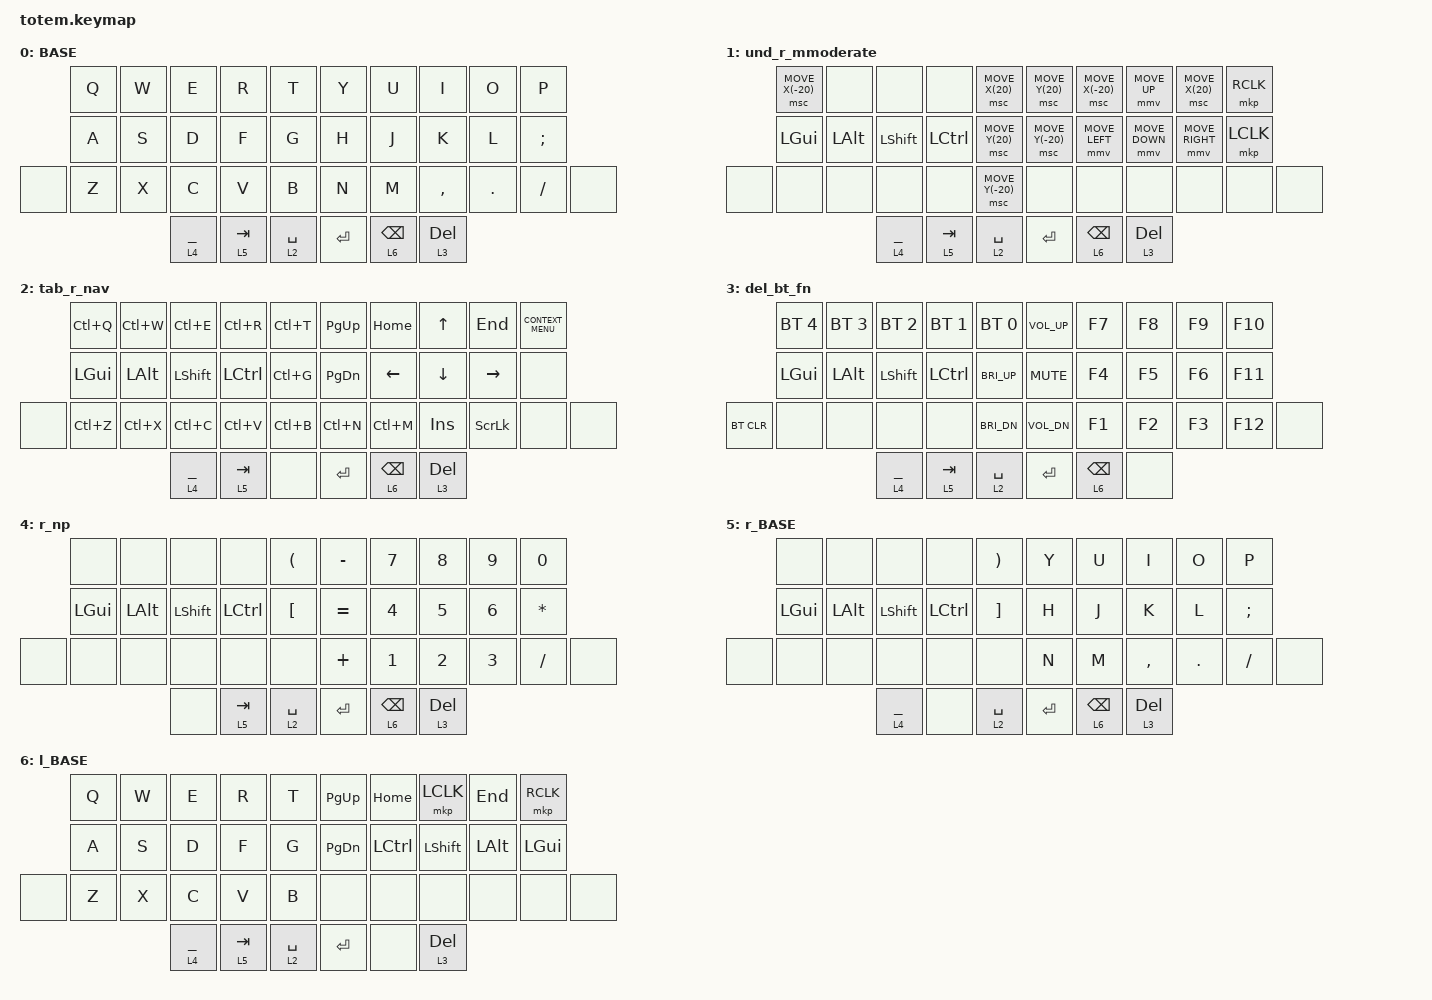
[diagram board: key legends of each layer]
#include <behaviors.dtsi>
#include <dt-bindings/zmk/bt.h>
#include <dt-bindings/zmk/keys.h>
#include <dt-bindings/zmk/pointing.h>

#define ZMK_POINTING_DEFAULT_MOVE_VAL 1200  // 기본값: 600
#define ZMK_POINTING_DEFAULT_SCRL_VAL 20    // 기본값: 10
#define BASE 0
#define NAV  1
#define SYM  2
#define ADJ  3
#define TVP1 4
#define TVP2 5

&lt {
    flavor = "balanced";
    quick-tap-ms = <175>;
    tapping-term-ms = <240>;
    require-prior-idle-ms = <50>;
    retro-tap;
};

&mmv {
    acceleration-exponent = <2>;
    time-to-max-speed-ms = <240>;
};

&msc {
    acceleration-exponent = <1>;
    time-to-max-speed-ms = <240>;
};

/ {
    combos {
        compatible = "zmk,combos";

        // ▄▄▄▄▄▄▄▄ cb mod
        // ▄▄▄▄▄▄▄▄ cb layer
        // ▄▄▄▄▄▄▄▄ cb keys

        cb_qwe_esc {
            bindings = <&kp ESC>;
            key-positions = <0 1 2>;
            require-prior-idle-ms = <170>;
        };

        cb_asd_grave {
            bindings = <&kp GRAVE>;
            key-positions = <10 11 12>;
            require-prior-idle-ms = <170>;
        };

        cb_zxc_none {
            bindings = <&kp CAPS>;
            key-positions = <22 21 23>;
            require-prior-idle-ms = <170>;
        };

        cb_wer_momouse_tomouse {
            bindings = <&td_momouse_tomouse>;
            key-positions = <1 2 3>;
            require-prior-idle-ms = <170>;
        };

        cb_sdf_capsword_tobase {
            bindings = <&td_capsword_tobase>;
            key-positions = <11 12 13>;
            require-prior-idle-ms = <170>;
        };

        cb_xcv_under {
            bindings = <&td_under>;
            key-positions = <22 23 24>;
            require-prior-idle-ms = <170>;
        };

        cb_ert_mobtfn_tobtfn {
            bindings = <&mkp RCLK>;
            key-positions = <2 3 4>;
            require-prior-idle-ms = <170>;
        };

        cb_dfg_lclk {
            bindings = <&mkp LCLK>;
            key-positions = <14 12 13>;
            require-prior-idle-ms = <170>;
        };

        cb_cvb_nav {
            bindings = <&kp K_MENU>;
            key-positions = <23 25 24>;
            require-prior-idle-ms = <170>;
        };

        cb_yui_minus {
            bindings = <&kp MINUS>;
            key-positions = <5 6 7>;
            require-prior-idle-ms = <170>;
        };

        cb_hjk_equal {
            bindings = <&kp EQUAL>;
            key-positions = <15 17 16>;
            require-prior-idle-ms = <170>;
        };

        cb_nmlt_lang1 {
            bindings = <&td_lang1_ctrlspace>;
            key-positions = <26 27 28>;
            require-prior-idle-ms = <170>;
        };

        cb_uio_np {
            bindings = <&td_tonp>;
            key-positions = <8 7 6>;
            require-prior-idle-ms = <170>;
        };

        cb_jkl_tobase {
            bindings = <&td_tobase>;
            key-positions = <18 16 17>;
            require-prior-idle-ms = <170>;
        };

        cb_lang2 {
            bindings = <&td_lang2>;
            key-positions = <27 28 29>;
            require-prior-idle-ms = <170>;
        };

        td_iop_star {
            bindings = <&kp STAR>;
            key-positions = <7 8 9>;
            require-prior-idle-ms = <170>;
        };

        cb_klsemicolon_quote {
            bindings = <&kp SINGLE_QUOTE>;
            key-positions = <17 18 19>;
            require-prior-idle-ms = <170>;
        };

        cb_commaperiodslash_backslash {
            bindings = <&kp BACKSLASH>;
            key-positions = <29 30 28>;
            require-prior-idle-ms = <170>;
        };

        cb_fg_ctrl {
            bindings = <&kp LCTRL>;
            key-positions = <13 14>;
            require-prior-idle-ms = <170>;
        };

        cb_dg_shift {
            bindings = <&kp LSHFT>;
            key-positions = <12 14>;
            require-prior-idle-ms = <170>;
        };

        cb_sg_alt {
            bindings = <&kp LALT>;
            key-positions = <14 11>;
            require-prior-idle-ms = <170>;
        };

        cb_ag_gui {
            bindings = <&kp LGUI>;
            key-positions = <10 14>;
            require-prior-idle-ms = <170>;
        };

        cb_df_ctrl_shift {
            bindings = <&kp LC(LSHIFT)>;
            key-positions = <13 12>;
            require-prior-idle-ms = <170>;
        };

        cb_sf_alt_ctrl {
            bindings = <&kp LC(LALT)>;
            key-positions = <11 13>;
            require-prior-idle-ms = <170>;
        };

        cb_af_gui_ctrl {
            bindings = <&kp LC(LGUI)>;
            key-positions = <13 10>;
            require-prior-idle-ms = <170>;
        };

        cb_sd_alt_shift {
            bindings = <&kp LS(LALT)>;
            key-positions = <12 11>;
            require-prior-idle-ms = <170>;
        };

        cb_ad_gui_shift {
            bindings = <&kp LS(LGUI)>;
            key-positions = <12 10>;
            require-prior-idle-ms = <170>;
        };

        cb_as_gui_alt {
            bindings = <&kp LA(LGUI)>;
            key-positions = <10 11>;
            require-prior-idle-ms = <170>;
        };

        cb_sdfg_alt_shit_ctrl {
            bindings = <&kp LA(LS(LCTRL))>;
            key-positions = <11 13 12 14>;
            require-prior-idle-ms = <170>;
        };

        cb_adf_gui_shift_ctrl {
            bindings = <&kp LS(LC(LGUI))>;
            key-positions = <13 12 10>;
            require-prior-idle-ms = <170>;
        };

        cb_asf_gui_alt_ctrl {
            bindings = <&kp LC(LA(LGUI))>;
            key-positions = <13 10 11>;
            require-prior-idle-ms = <170>;
        };

        cb_asdg_gui_alt_shift {
            bindings = <&kp LS(LA(LGUI))>;
            key-positions = <10 11 12 14>;
            require-prior-idle-ms = <170>;
        };

        cb_asdf_gui_alt_shift_ctrl {
            bindings = <&kp LS(LA(LC(LGUI)))>;
            key-positions = <10 11 12 13>;
            require-prior-idle-ms = <170>;
        };

        cb_hj_ctrl {
            bindings = <&kp LCTRL>;
            key-positions = <15 16>;
            require-prior-idle-ms = <170>;
        };

        cb_hk_shift {
            bindings = <&kp LSHFT>;
            key-positions = <15 17>;
            require-prior-idle-ms = <170>;
        };

        cb_hl_alt {
            bindings = <&kp LALT>;
            key-positions = <15 18>;
            require-prior-idle-ms = <170>;
        };

        cb_hsemic_gui {
            bindings = <&kp LGUI>;
            key-positions = <15 19>;
            require-prior-idle-ms = <170>;
        };

        cb_jk_ctrl_shift {
            bindings = <&kp LC(LSHIFT)>;
            key-positions = <16 17>;
            require-prior-idle-ms = <170>;
        };

        cb_jl_ctrl_alt {
            bindings = <&kp LC(LALT)>;
            key-positions = <16 18>;
            require-prior-idle-ms = <170>;
        };

        cb_jsemic_ctrl_gui {
            bindings = <&kp LC(LGUI)>;
            key-positions = <16 19>;
            require-prior-idle-ms = <170>;
        };

        cb_kl_shift_alt {
            bindings = <&kp LS(LALT)>;
            key-positions = <17 18>;
            require-prior-idle-ms = <170>;
        };

        cb_ksemic_shift_gui {
            bindings = <&kp LS(LGUI)>;
            key-positions = <17 19>;
            require-prior-idle-ms = <170>;
        };

        cb_lsemic_alt_gui {
            bindings = <&kp LA(LGUI)>;
            key-positions = <18 19>;
            require-prior-idle-ms = <170>;
        };

        cb_hjkl_ctrl_shift_alt {
            bindings = <&kp LA(LS(LCTRL))>;
            key-positions = <15 17 16 18>;
            require-prior-idle-ms = <170>;
        };

        cb_jksemic_ctrl_shift_gui {
            bindings = <&kp LS(LC(LGUI))>;
            key-positions = <16 17 19>;
            require-prior-idle-ms = <170>;
        };

        cb_jlsemic_ctrl_alt_gui {
            bindings = <&kp LC(LA(LGUI))>;
            key-positions = <16 18 19>;
            require-prior-idle-ms = <170>;
        };

        cb_hklsemic_shift_alt_gui {
            bindings = <&kp LS(LA(LGUI))>;
            key-positions = <15 17 18 19>;
            require-prior-idle-ms = <170>;
        };

        cb_jklsemic_ctrl_shift_alt_gui {
            bindings = <&kp LS(LA(LC(LGUI)))>;
            key-positions = <16 17 19 18>;
            require-prior-idle-ms = <170>;
        };
    };

    macros {
        accent: acute {
            compatible = "zmk,behavior-macro-two-param";
            #binding-cells = <2>;
            bindings =
                <&macro_tap>,
                <&macro_param_1to1 &kp MACRO_PLACEHOLDER>,
                <&macro_tap>,
                <&macro_param_2to1 &kp MACRO_PLACEHOLDER>;

            label = "ACUTE";
        };
    };

    behaviors {
        hml: hml {
            compatible = "zmk,behavior-hold-tap";
            label = "HML";
            bindings = <&kp>, <&kp>;

            #binding-cells = <2>;
            tapping-term-ms = <280>;
            quick-tap-ms = <175>;
            flavor = "balanced";
            hold-trigger-on-release;
            hold-trigger-key-positions = <5 6 7 8 9 15 16 17 18 19 26 27 28 29 30 31 35 36 37>;
            require-prior-idle-ms = <50>;
        };

        hmr: hmr {
            compatible = "zmk,behavior-hold-tap";
            label = "HMR";
            bindings = <&kp>, <&kp>;

            #binding-cells = <2>;
            tapping-term-ms = <280>;
            quick-tap-ms = <175>;
            flavor = "balanced";
            hold-trigger-on-release;
            hold-trigger-key-positions = <0 1 2 3 4 10 11 12 13 14 20 21 22 23 24 25 32 33 34>;
            require-prior-idle-ms = <50>;
        };

        thl: thl {
            compatible = "zmk,behavior-hold-tap";
            label = "THL";
            #binding-cells = <2>;
            bindings = <&mo>, <&kp>;

            tapping-term-ms = <280>;
            hold-trigger-key-positions = <5 15 26 7 8 9 17 18 19 28 29 30 31 16 27 6 35 36 37>;
            hold-trigger-on-release;
            quick-tap-ms = <125>;
            require-prior-idle-ms = <50>;
            flavor = "balanced";
        };

        thr: thr {
            compatible = "zmk,behavior-hold-tap";
            label = "THR";
            #binding-cells = <2>;
            bindings = <&mo>, <&kp>;

            tapping-term-ms = <280>;
            hold-trigger-on-release;
            quick-tap-ms = <125>;
            require-prior-idle-ms = <50>;
            flavor = "balanced";
            hold-trigger-key-positions = <0 1 2 3 4 10 11 12 13 14 20 21 22 23 24 25 32 33 34>;
        };

        td_bracket: td_bracket {
            compatible = "zmk,behavior-tap-dance";
            label = "TD_BRACKET";
            #binding-cells = <0>;
            bindings = <&kp LEFT_BRACKET>, <&kp RIGHT_BRACKET>;

            tapping-term-ms = <220>;
        };

        td_esc_capsword: td_esc_capsword {
            compatible = "zmk,behavior-tap-dance";
            label = "TD_ESC_CAPSWORD";
            #binding-cells = <0>;
            bindings = <&kp ESC>, <&caps_word>;

            tapping-term-ms = <200>;
        };

        td_parenthesis: td_parenthesis {
            compatible = "zmk,behavior-tap-dance";
            label = "TD_PARENTHESIS";
            #binding-cells = <0>;
            bindings = <&kp LEFT_PARENTHESIS>, <&kp RIGHT_PARENTHESIS>;

            tapping-term-ms = <220>;
        };

        mo_to: mo_to {
            compatible = "zmk,behavior-hold-tap";
            label = "MO_TO";
            bindings = <&mo>, <&to>;

            #binding-cells = <2>;
            tapping-term-ms = <200>;
            flavor = "tap-preferred";
        };

        td_quote_backslashpipe: td_quote_backslashpipe {
            compatible = "zmk,behavior-tap-dance";
            label = "TD_QUOTE_BACKSLASHPIPE";
            #binding-cells = <0>;
            bindings = <&kp SINGLE_QUOTE>, <&kp BACKSLASH>;

            tapping-term-ms = <200>;
        };

        td_quote_underscore: td_quote_underscore {
            compatible = "zmk,behavior-tap-dance";
            label = "TD_QUOTE_UNDERSCORE";
            #binding-cells = <0>;
            bindings = <&kp SINGLE_QUOTE>, <&kp UNDER>;

            tapping-term-ms = <200>;
        };

        td_left_bracket_parenthesis: td_left_bracket_parenthesis {
            compatible = "zmk,behavior-tap-dance";
            label = "TD_LEFT_BRACKET_PARENTHESIS";
            #binding-cells = <0>;
            bindings = <&kp LEFT_BRACKET>, <&kp LEFT_PARENTHESIS>;

            tapping-term-ms = <220>;
        };

        td_right_bracket_parenthesis: td_right_bracket_parenthesis {
            compatible = "zmk,behavior-tap-dance";
            label = "TD_RIGHT_BRACKET_PARENTHESIS";
            #binding-cells = <0>;
            bindings = <&kp RIGHT_BRACKET>, <&kp RIGHT_PARENTHESIS>;

            tapping-term-ms = <220>;
        };

        td_f: td_f {
            compatible = "zmk,behavior-tap-dance";
            label = "TD_F";
            #binding-cells = <0>;
            bindings = <&kp F>, <&kp LCTRL>, <&kp F>;

            tapping-term-ms = <200>;
        };

        td_d: td_d {
            compatible = "zmk,behavior-tap-dance";
            label = "TD_D";
            #binding-cells = <0>;
            bindings = <&kp D>, <&kp LSHIFT>, <&kp D>;

            tapping-term-ms = <200>;
        };

        td_s: td_s {
            compatible = "zmk,behavior-tap-dance";
            label = "TD_S";
            #binding-cells = <0>;
            bindings = <&kp S>, <&kp LALT>, <&kp S>;

            tapping-term-ms = <200>;
        };

        td_a: td_a {
            compatible = "zmk,behavior-tap-dance";
            label = "TD_A";
            #binding-cells = <0>;
            bindings = <&kp A>, <&kp LGUI>, <&kp A>;

            tapping-term-ms = <200>;
        };

        td_j: td_j {
            compatible = "zmk,behavior-tap-dance";
            label = "TD_J";
            #binding-cells = <0>;
            bindings = <&kp J>, <&kp LCTRL>, <&kp J>;

            tapping-term-ms = <200>;
        };

        td_k: td_k {
            compatible = "zmk,behavior-tap-dance";
            label = "TD_K";
            #binding-cells = <0>;
            bindings = <&kp K>, <&kp LSHIFT>, <&kp K>;

            tapping-term-ms = <200>;
        };

        td_l: td_l {
            compatible = "zmk,behavior-tap-dance";
            label = "TD_L";
            #binding-cells = <0>;
            bindings = <&kp L>, <&kp LALT>, <&kp L>;

            tapping-term-ms = <200>;
        };

        td_semicolon: td_semicolon {
            compatible = "zmk,behavior-tap-dance";
            label = "TD_SEMICOLON";
            #binding-cells = <0>;
            bindings = <&kp SEMICOLON>, <&kp LGUI>, <&kp SEMICOLON>;

            tapping-term-ms = <200>;
        };

        td_tab_l_ctrl_r_nav_bracket_ins: td_tab_l_ctrl_r_nav_bracket_ins {
            compatible = "zmk,behavior-tap-dance";
            label = "TD_TAB_L_CTRL_R_NAV_BRACKET_INS";
            #binding-cells = <0>;
            bindings = <&kp TAB>, <&lt 2 TAB>;

            tapping-term-ms = <200>;
        };

        td_und_l_thumb_r_mmoderate: td_und_l_thumb_r_mmoderate {
            compatible = "zmk,behavior-tap-dance";
            label = "TD_UND_L_THUMB_R_MMODERATE";
            #binding-cells = <0>;
            bindings = <&kp UNDERSCORE>, <&lt 1 UNDERSCORE>;

            tapping-term-ms = <200>;
        };

        td_graveaccent_l_pinky_np: td_graveaccent_l_pinky_np {
            compatible = "zmk,behavior-tap-dance";
            label = "TD_GRAVEACCENT_L_PINKY_NP";
            #binding-cells = <0>;
            bindings = <&kp GRAVE>, <&lt 4 GRAVE>;

            tapping-term-ms = <200>;
        };

        td_bspc_bt_fn: td_bspc_bt_fn {
            compatible = "zmk,behavior-tap-dance";
            label = "TD_BSPC_BT_FN";
            #binding-cells = <0>;
            bindings = <&kp BSPC>, <&lt 3 BSPC>;

            tapping-term-ms = <200>;
        };

        hold_mkp: hold_mkp {
            compatible = "zmk,behavior-hold-tap";
            label = "HOLD_MKP";
            bindings = <&kp>, <&mkp>;

            #binding-cells = <2>;
            tapping-term-ms = <280>;
            quick-tap-ms = <175>;
            require-prior-idle-ms = <50>;
            flavor = "balanced";
            retro-tap;
        };

        td_home_end: td_home_end {
            compatible = "zmk,behavior-tap-dance";
            label = "TD_HOME_END";
            #binding-cells = <0>;
            bindings = <&kp HOME>, <&kp END>;

            tapping-term-ms = <200>;
        };

        td_lt_gt: td_lt_gt {
            compatible = "zmk,behavior-tap-dance";
            label = "TD_LT_GT";
            #binding-cells = <0>;
            bindings = <&kp LT>, <&kp GT>;

            tapping-term-ms = <220>;
        };

        td_kor_eng_chn: td_kor_eng_chn {
            compatible = "zmk,behavior-tap-dance";
            label = "TD_KOR_ENG_CHN";
            #binding-cells = <0>;
            bindings = <&kp LANGUAGE_1>, <&kp LANGUAGE_2>;

            tapping-term-ms = <220>;
        };

        td_lang1_ctrlspace: td_lang1_ctrlspace {
            compatible = "zmk,behavior-tap-dance";
            label = "TD_LANG1_CTRLSPACE";
            #binding-cells = <0>;
            bindings = <&kp LANGUAGE_1>, <&kp LC(SPACE)>;

            tapping-term-ms = <220>;
        };

        td_mmoderate_esc: td_mmoderate_esc {
            compatible = "zmk,behavior-tap-dance";
            label = "TD_MMODERATE_ESC";
            #binding-cells = <0>;
            bindings = <&tog 1>, <&kp ESC>;

            tapping-term-ms = <220>;
        };

        td_capsword_tobase: td_capsword_tobase {
            compatible = "zmk,behavior-tap-dance";
            label = "TD_CAPSWORD_TOBASE";
            #binding-cells = <0>;
            bindings = <&caps_word>, <&to 0>;

            tapping-term-ms = <220>;
        };

        td_mobtfn_tobtfn: td_mobtfn_tobtfn {
            compatible = "zmk,behavior-tap-dance";
            label = "TD_MOBTFN_TOBTFN";
            #binding-cells = <0>;
            bindings = <&mo 3>, <&to 3>;

            tapping-term-ms = <220>;
        };

        td_momouse_tomouse: td_momouse_tomouse {
            compatible = "zmk,behavior-tap-dance";
            label = "TD_MOMOUSE_TOMOUSE";
            #binding-cells = <0>;
            bindings = <&mo 1>, <&to 1>;

            tapping-term-ms = <220>;
        };

        td_tobase_lclick: td_tobase_lclick {
            compatible = "zmk,behavior-tap-dance";
            label = "TD_TOBASE_LCLICK";
            #binding-cells = <0>;
            bindings = <&to 0>, <&mkp LCLK>;

            tapping-term-ms = <220>;
        };

        td_tobase: td_tobase {
            compatible = "zmk,behavior-tap-dance";
            label = "TD_TOBASE";
            #binding-cells = <0>;
            bindings = <&to 0>;
            tapping-term-ms = <220>;
        };

        td_lang2: td_lang2 {
            compatible = "zmk,behavior-tap-dance";
            label = "TD_LANG2";
            #binding-cells = <0>;
            bindings = <&kp LANG2>;
            tapping-term-ms = <220>;
        };

        td_tonp: td_tonp {
            compatible = "zmk,behavior-tap-dance";
            label = "TD_TONP";
            #binding-cells = <0>;
            bindings = <&to 4>;
            tapping-term-ms = <220>;
        };

        td_under: td_under {
            compatible = "zmk,behavior-tap-dance";
            label = "TD_UNDER";
            #binding-cells = <0>;
            bindings = <&kp UNDER>;
            tapping-term-ms = <220>;
        };

        td_monav_tonav: td_monav_tonav {
            compatible = "zmk,behavior-tap-dance";
            label = "TD_MONAV_TONAV";
            #binding-cells = <0>;
            bindings = <&mo 2>, <&to 2>;

            tapping-term-ms = <220>;
        };

        td_ins_capslock: td_ins_capslock {
            compatible = "zmk,behavior-tap-dance";
            label = "TD_INS_CAPSLOCK";
            #binding-cells = <0>;
            bindings = <&kp INS>, <&kp CAPSLOCK>;

            tapping-term-ms = <220>;
        };
    };

    keymap {
        compatible = "zmk,keymap";

        base {
            label = "BASE";
            bindings = <
       &kp Q  &kp W  &kp E        &kp R      &kp T          &kp Y      &kp U       &kp I         &kp O    &kp P
       &kp A  &kp S  &kp D        &kp F      &kp G          &kp H      &kp J       &kp K         &kp L    &kp SEMI
&none  &kp Z  &kp X  &kp C        &kp V      &kp B          &kp N      &kp M       &kp COMMA     &kp DOT  &kp FSLH  &none
                     &lt 4 UNDER  &lt 5 TAB  &lt 2 SPACE    &kp ENTER  &lt 6 BSPC  &lt 3 DELETE
            >;
        };

        und_r_mmoderate {
            bindings = <
       &msc MOVE_X(-20)  &none     &none        &none      &msc MOVE_X(20)     &msc MOVE_Y(20)   &msc MOVE_X(-20)  &mmv MOVE_UP    &msc MOVE_X(20)  &mkp RCLK
       &kp LGUI          &kp LALT  &kp LSHIFT   &kp LCTRL  &msc MOVE_Y(20)     &msc MOVE_Y(-20)  &mmv MOVE_LEFT    &mmv MOVE_DOWN  &mmv MOVE_RIGHT  &mkp LCLK
&none  &none             &none     &none        &none      &msc MOVE_Y(-20)    &none             &none             &none           &none            &none      &none
                                   &lt 4 UNDER  &lt 5 TAB  &lt 2 SPACE         &kp RET           &lt 6 BSPC        &lt 3 DEL
            >;
        };

        tab_r_nav {
            bindings = <
       &kp LC(Q)  &kp LC(W)  &kp LC(E)    &kp LC(R)  &kp LC(T)    &kp PG_UP  &kp HOME    &kp UP_ARROW  &kp END         &kp K_CONTEXT_MENU
       &kp LGUI   &kp LALT   &kp LSHIFT   &kp LCTRL  &kp LC(G)    &kp PG_DN  &kp LEFT    &kp DOWN      &kp RIGHT       &none
&none  &kp LC(Z)  &kp LC(X)  &kp LC(C)    &kp LC(V)  &kp LC(B)    &kp LC(N)  &kp LC(M)   &kp INS       &kp SCROLLLOCK  &none               &none
                             &lt 4 UNDER  &lt 5 TAB  &none        &kp ENTER  &lt 6 BSPC  &lt 3 DEL
            >;
        };

        del_bt_fn {
            bindings = <
            &bt BT_SEL 4  &bt BT_SEL 3  &bt BT_SEL 2  &bt BT_SEL 1  &bt BT_SEL 0    &kp C_VOL_UP  &kp F7      &kp F8  &kp F9  &kp F10
            &kp LGUI      &kp LALT      &kp LSHIFT    &kp LCTRL     &kp C_BRI_UP    &kp C_MUTE    &kp F4      &kp F5  &kp F6  &kp F11
&bt BT_CLR  &none         &none         &none         &none         &kp C_BRI_DN    &kp C_VOL_DN  &kp F1      &kp F2  &kp F3  &kp F12  &none
                                        &lt 4 UNDER   &lt 5 TAB     &lt 2 SPACE     &kp ENTER     &lt 6 BSPC  &none
            >;
        };

        r_np {
            bindings = <
       &none     &none     &none       &none      &kp LEFT_PARENTHESIS    &kp MINUS  &kp N7      &kp N8     &kp N9  &kp N0
       &kp LGUI  &kp LALT  &kp LSHIFT  &kp LCTRL  &kp LEFT_BRACKET        &kp EQUAL  &kp N4      &kp N5     &kp N6  &kp STAR
&none  &none     &none     &none       &none      &none                   &kp PLUS   &kp N1      &kp N2     &kp N3  &kp SLASH  &none
                           &none       &lt 5 TAB  &lt 2 SPACE             &kp ENTER  &lt 6 BSPC  &lt 3 DEL
            >;
        };

        l_homerow_r_base {
            label = "r_BASE";
            bindings = <
       &none     &none     &none        &none      &kp RIGHT_PARENTHESIS    &kp Y      &kp U       &kp I      &kp O    &kp P
       &kp LGUI  &kp LALT  &kp LSHIFT   &kp LCTRL  &kp RIGHT_BRACKET        &kp H      &kp J       &kp K      &kp L    &kp SEMI
&none  &none     &none     &none        &none      &none                    &kp N      &kp M       &kp COMMA  &kp DOT  &kp FSLH  &none
                           &lt 4 UNDER  &none      &lt 2 SPACE              &kp ENTER  &lt 6 BSPC  &lt 3 DEL
            >;
        };

        r_homerow_l_base {
            label = "l_BASE";
            bindings = <
       &kp Q  &kp W  &kp E        &kp R      &kp T          &kp PG_UP  &kp HOME   &mkp LCLK   &kp END   &mkp RCLK
       &kp A  &kp S  &kp D        &kp F      &kp G          &kp PG_DN  &kp LCTRL  &kp LSHIFT  &kp LALT  &kp LGUI
&none  &kp Z  &kp X  &kp C        &kp V      &kp B          &none      &none      &none       &none     &none      &none
                     &lt 4 UNDER  &lt 5 TAB  &lt 2 SPACE    &kp ENTER  &none      &lt 3 DEL
            >;
        };
    };
};
